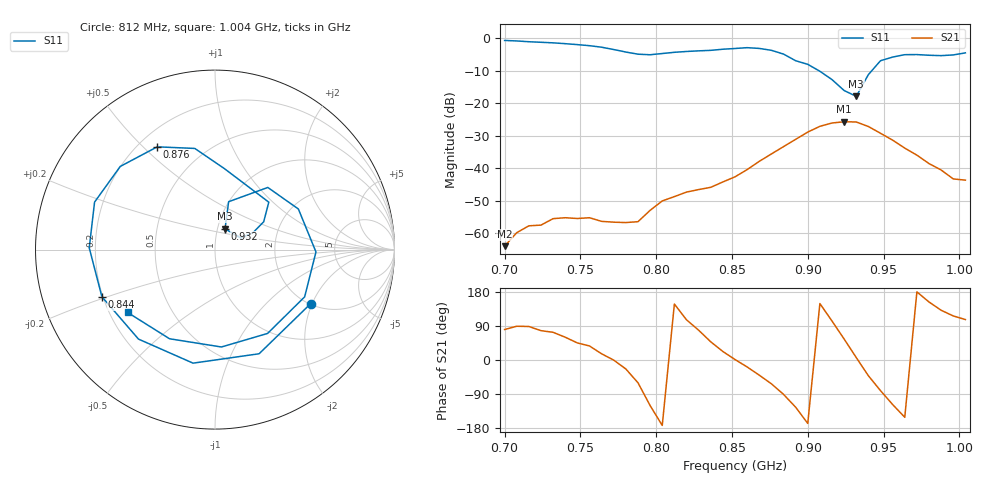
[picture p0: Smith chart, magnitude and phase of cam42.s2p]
# Hz S RI R 50
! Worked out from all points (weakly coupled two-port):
!   39 points, 700 MHz to 1.004 GHz, reference 50 ohm
!   highest |S21| = -25.65 dB at 924 MHz (marker M1); lowest = -63.9 dB at 700 MHz (marker M2)
!   lowest |S11| = -17.8 dB at 932 MHz (marker M3), VSWR 1.29, Z = 54.3 + j12.8 ohm
!   |S11| at or under -10 dB: 907.6 MHz to 942.1 MHz (34.49 MHz wide, 3.73 % of centre)
!   S12 and S22 are empty: the file has one direction only
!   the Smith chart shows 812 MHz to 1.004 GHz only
!   S11 on the Smith chart (normalised r, x): 812 MHz: 2.02, -1.95; 844 MHz: 0.20, -0.19; 876 MHz: 0.27, +0.55; 932 MHz: 1.09, +0.26; 1.004 GHz: 0.27, -0.30
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7e8  0.7641 0.5326  0.000105 0.000626  0 0  0 0
7.24e8  0.8335 -0.2608  0.000291 0.00131  0 0  0 0
7.4e8  0.445 -0.7018  0.000868 0.00151  0 0  0 0
7.56e8  -0.1954 -0.749  0.00139 0.00105  0 0  0 0
7.72e8  -0.6489 -0.1872  0.00149 -8.66e-06  0 0  0 0
7.8e8  -0.5726 0.2315  0.00134 -0.00059  0 0  0 0
7.88e8  -0.2209 0.5281  0.000754 -0.00131  0 0  0 0
7.96e8  0.2621 0.4963  -0.00114 -0.00195  0 0  0 0
8.04e8  0.5688 0.1414  -0.00313 -0.000404  0 0  0 0
8.12e8  0.5329 -0.3013  -0.00311 0.00197  0 0  0 0
8.28e8  -0.1224 -0.6326  0.000928 0.00463  0 0  0 0
8.44e8  -0.6302 -0.2626  0.00572 0.00236  0 0  0 0
8.52e8  -0.7006 0.0095  0.00741 0.000167  0 0  0 0
8.76e8  -0.3218 0.5726  0.00764 -0.0148  0 0  0 0
9e8  0.2997 0.2642  -0.0353 -0.00791  0 0  0 0
9.08e8  0.2714 0.1551  -0.038 0.0229  0 0  0 0
9.24e8  0.1442 0.0646  0.0297 0.043  0 0  0 0
9.32e8  0.0558 0.1158  0.0515 0.00577  0 0  0 0
9.48e8  0.2942 0.3463  0.00548 -0.0343  0 0  0 0
9.56e8  0.4647 0.2261  -0.0126 -0.0241  0 0  0 0
9.8e8  0.2929 -0.4671  -0.0106 0.00537  0 0  0 0
1.004e9  -0.4874 -0.3499  -0.0019 0.00631  0 0  0 0
